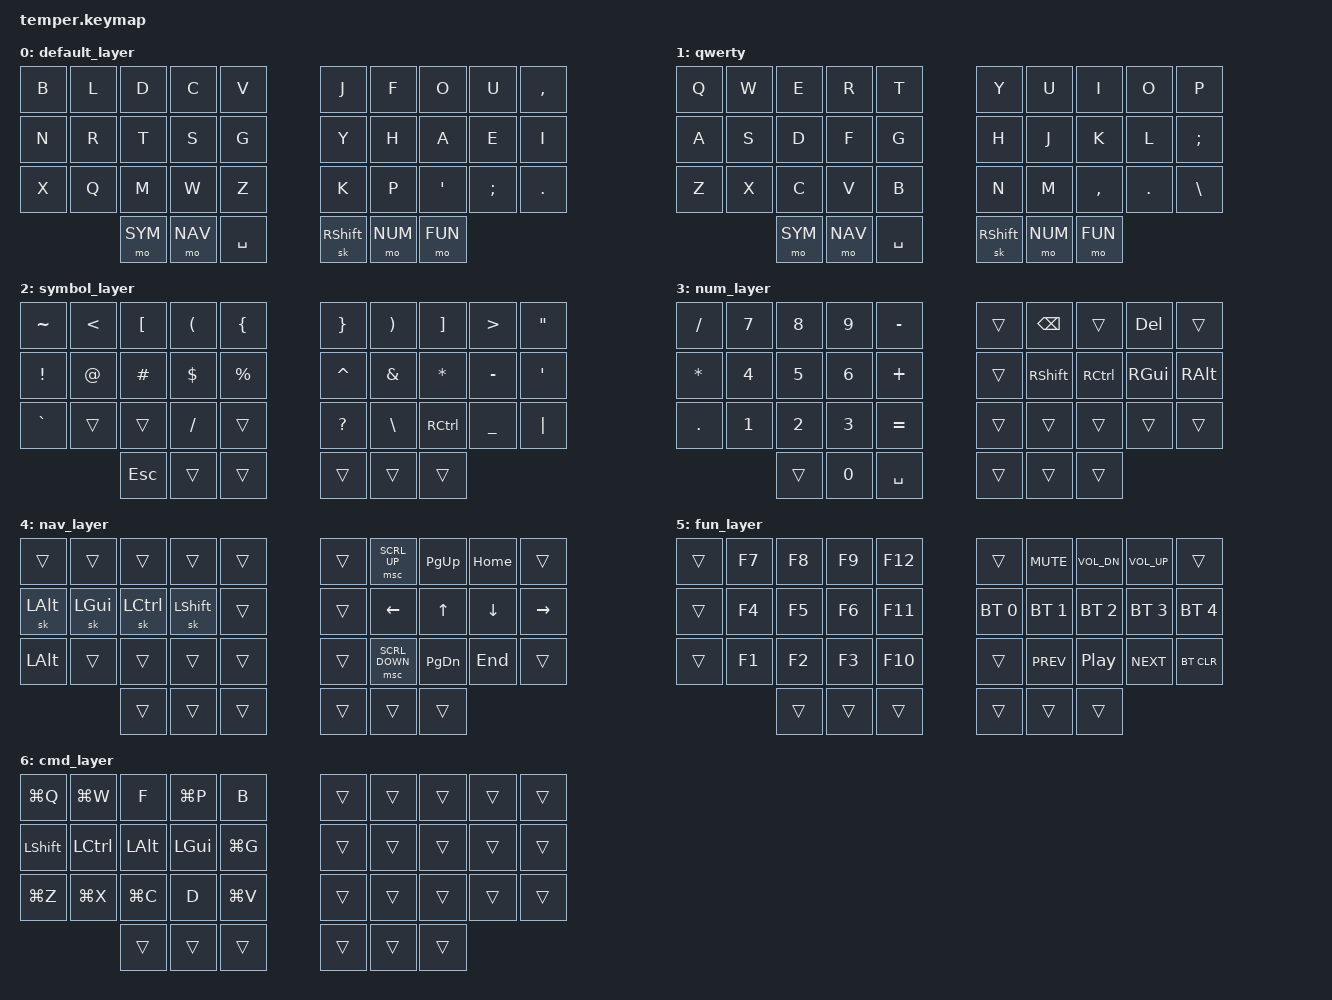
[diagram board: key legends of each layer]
/*
 * Copyright (c) 2020 The ZMK Contributors
 *
 * SPDX-License-Identifier: MIT
 */

#include <behaviors.dtsi>
#include <dt-bindings/zmk/keys.h>
#include <dt-bindings/zmk/bt.h>
#include <dt-bindings/zmk/outputs.h>
#include <dt-bindings/zmk/pointing.h>

#define GALLIUM 0
#define QWERTY 1
#define SYM 2
#define NUM 3
#define NAV 4
#define FUN 5
#define CMD 6

# define ______ &trans

/ {
    
    combos {
        compatible = "zmk,combos";
        combo_esc {
            timeout-ms = <50>;
            key-positions = <1 2>;
            bindings = <&kp ESC>;
        };
        combo_backspace {
            timeout-ms = <50>;
            key-positions = <6 7>;
            bindings = <&kp BSPC>;
        };
        combo_delete {
            timeout-ms = <50>;
            key-positions = <7 8>;
            bindings = <&kp DEL>;
        };
        combo_tab {
            timeout-ms = <50>;
            key-positions = <21 22>;
            bindings = <&kp TAB>;
        };
        combo_enter {
            timeout-ms = <50>;
            key-positions = <27 28>;
            bindings = <&kp RET>;
        };
        combo_caps {
            timeout-ms = <50>;
            key-positions = <11 12>;
            bindings = <&caps_word>;
        };
        combo_num {
            timeout-ms = <50>;
            key-positions = <1 2 3>;
            bindings = <&tog NUM>;
        };
        combo_qwer {
            timeout-ms = <50>;
            key-positions = <6 7 8>;
            bindings = <&tog QWERTY>;
        };
        combo_wm_a {
            timeout-ms = <50>;
            key-positions = <3 4>;
            bindings = <&kp LS(LC(LA(LGUI)))>;
        };

         combo_wm_b {
             timeout-ms = <50>;
             key-positions = <5 6>;
             bindings = <&kp LS(LC(LA(LGUI)))>;
        };

         combo_wm_c {
             timeout-ms = <50>;
             key-positions = <23 24>;
             bindings = <&kp LS(LA(LGUI))>;
         };
         combo_wm_d {
             timeout-ms = <50>;
             key-positions = <25 26>;
             bindings = <&kp LS(LA(LGUI))>;
         };


    };

// &sk LALT     &sk LGUI      &sk LCTRL      &sk LSHFT 
//     conditional_layers {
//         compatible = "zmk,conditional-layers";
//         tri_layer {
//             if-layers = <NUM NAV>;
//             then-layer = <FUN>;
//         };
//     };
    
    behaviors {
        bspc_del: backspace_delete {
            compatible = "zmk,behavior-mod-morph";
            #binding-cells = <0>;
            bindings = <&kp BACKSPACE>, <&kp DELETE>;
            mods = <(MOD_LSFT|MOD_RSFT)>;
            keep-mods = <(MOD_RSFT)>;
        };
        super_bspc: super_backspace {
            compatible = "zmk,behavior-mod-morph";
            #binding-cells = <0>;
            bindings = <&kp BACKSPACE>, <&kp LA(BACKSPACE)>;
            mods = <(MOD_LSFT|MOD_RSFT)>;
        };
        comma_semi: comma_semi {
            compatible = "zmk,behavior-mod-morph";
            #binding-cells = <0>;
            bindings = <&kp COMMA>, <&kp SEMI>;
            mods = <(MOD_LSFT)>;
        };
        dot_colon: dot_colon {
            compatible = "zmk,behavior-mod-morph";
            #binding-cells = <0>;
            bindings = <&kp DOT>, <&kp COLON>;
            mods = <(MOD_LSFT)>;
        };
        qmrk_excl: qmrk_excl {
            compatible = "zmk,behavior-mod-morph";
            #binding-cells = <0>;
            bindings = <&kp QMARK>, <&kp EXCL>;
            mods = <(MOD_LSFT)>;
        };
        slh_morph: slh_morph {
            compatible = "zmk,behavior-mod-morph";
            #binding-cells = <0>;
            bindings = <&kp FSLH>, <&kp BSLH>;
            mods = <(MOD_LSFT)>;
        };
        
    };
        keymap {
                compatible = "zmk,keymap";

                default_layer {
                        bindings = <
// ╭─────────────┬─────────────┬─────────────┬─────────────┬─────────────╮   ╭─────────────┬─────────────┬─────────────┬─────────────┬─────────────╮
        &kp B         &kp L         &kp D         &kp C         &kp V             &kp J         &kp F         &kp O         &kp U        &kp COMMA  // #TODO comma morph to add ?
// ├─────────────┼─────────────┼─────────────┼─────────────┼─────────────┤   ├─────────────┼─────────────┼─────────────┼─────────────┼─────────────┤
        &kp N         &kp R         &kp T         &kp S         &kp G             &kp Y         &kp H         &kp A         &kp E        &kp I
// ├─────────────┼─────────────┼─────────────┼─────────────┼─────────────┤   ├─────────────┼─────────────┼─────────────┼─────────────┼─────────────┤
        &kp X         &kp Q         &kp M         &kp W         &kp Z             &kp K         &kp P         &kp APOS    &kp SEMI       &kp DOT
// ╰─────────────┴─────────────┼─────────────┼─────────────┼─────────────┤   ├─────────────┼─────────────┼─────────────┼─────────────┴─────────────╯
                                   &mo SYM       &mo NAV     &kp SPACE         &sk RSHIFT       &mo NUM       &mo FUN
//                             ╰─────────────┴─────────────┴─────────────╯   ╰─────────────┴─────────────┴─────────────╯
                        >;
                };

                qwerty {
                        bindings = <
// ╭─────────────┬─────────────┬─────────────┬─────────────┬─────────────╮   ╭─────────────┬─────────────┬─────────────┬─────────────┬─────────────╮
        &kp Q         &kp W         &kp E         &kp R         &kp T             &kp Y         &kp U         &kp I         &kp O        &kp P   // #TODO comma morph to add ?
// ├─────────────┼─────────────┼─────────────┼─────────────┼─────────────┤   ├─────────────┼─────────────┼─────────────┼─────────────┼─────────────┤
        &kp A         &kp S         &kp D         &kp F         &kp G             &kp H         &kp J         &kp K         &kp L        &kp SEMI
// ├─────────────┼─────────────┼─────────────┼─────────────┼─────────────┤   ├─────────────┼─────────────┼─────────────┼─────────────┼─────────────┤
        &kp Z         &kp X         &kp C         &kp V         &kp B             &kp N         &kp M         &kp COMMA      &kp DOT     &kp BSLH
// ╰─────────────┴─────────────┼─────────────┼─────────────┼─────────────┤   ├─────────────┼─────────────┼─────────────┼─────────────┴─────────────╯
                                   &mo SYM       &mo NAV     &kp SPACE        &sk RSHIFT         &mo NUM       &mo FUN
//                             ╰─────────────┴─────────────┴─────────────╯   ╰─────────────┴─────────────┴─────────────╯
                        >;
                };

                symbol_layer {
                        bindings = <
// ╭─────────────┬─────────────┬─────────────┬─────────────┬─────────────╮   ╭─────────────┬─────────────┬─────────────┬─────────────┬─────────────╮
       &kp TILDE     &kp LT        &kp LBKT      &kp LPAR     &kp LBRC          &kp RBRC       &kp RPAR     &kp RBKT   &kp GREATER_THAN    &kp DOUBLE_QUOTES
// ├─────────────┼─────────────┼─────────────┼─────────────┼─────────────┤   ├─────────────┼─────────────┼─────────────┼─────────────┼─────────────┤
       &kp EXCL      &kp AT       &kp HASH       &kp DLLR     &kp PRCNT         &kp CARET      &kp AMPS      &kp STAR      &kp MINUS    &kp APOS
// ├─────────────┼─────────────┼─────────────┼─────────────┼─────────────┤   ├─────────────┼─────────────┼─────────────┼─────────────┼─────────────┤
       &kp GRAVE      ______         ______      &kp FSLH      ______          &kp QUESTION    &kp BSLH     &kp RCTRL      &kp UNDER    &kp PIPE
// ╰─────────────┴─────────────┼─────────────┼─────────────┼─────────────┤   ├─────────────┼─────────────┼─────────────┼─────────────┴─────────────╯
                                    &kp ESC       ______      ______              ______       ______     ______
//                             ╰─────────────┴─────────────┴─────────────╯   ╰─────────────┴─────────────┴─────────────╯
                        >;
                };

                num_layer {
                        bindings = <
// ╭─────────────┬─────────────┬─────────────┬─────────────┬─────────────╮   ╭─────────────┬─────────────┬─────────────┬─────────────┬─────────────╮
      &kp FSLH       &kp N7       &kp N8        &kp N9       &kp MINUS           ______       &kp BSPC        ______        &kp DEL      ______
// ├─────────────┼─────────────┼─────────────┼─────────────┼─────────────┤   ├─────────────┼─────────────┼─────────────┼─────────────┼─────────────┤
      &kp STAR       &kp N4       &kp N5        &kp N6       &kp PLUS            ______       &kp RSHFT     &kp RCTRL       &kp RGUI      &kp RALT
// ├─────────────┼─────────────┼─────────────┼─────────────┼─────────────┤   ├─────────────┼─────────────┼─────────────┼─────────────┼─────────────┤
      &kp DOT        &kp N1       &kp N2        &kp N3       &kp EQUAL          ______      ______        ______        ______      ______
// ╰─────────────┴─────────────┼─────────────┼─────────────┼─────────────┤   ├─────────────┼─────────────┼─────────────┼─────────────┴─────────────╯
                                    ______        &kp N0      &kp SPACE            ______        ______        ______
//                             ╰─────────────┴─────────────┴─────────────╯   ╰─────────────┴─────────────┴─────────────╯
                        >;
                };

                nav_layer {
                        bindings = <
// ╭─────────────┬─────────────┬─────────────┬─────────────┬─────────────╮   ╭─────────────┬─────────────┬─────────────┬─────────────┬─────────────╮
        ______        ______        ______        ______        ______           ______     &msc SCRL_UP   &kp PAGE_UP     &kp HOME       ______
// ├─────────────┼─────────────┼─────────────┼─────────────┼─────────────┤   ├─────────────┼─────────────┼─────────────┼─────────────┼─────────────┤
      &sk LALT     &sk LGUI      &sk LCTRL      &sk LSHFT       ______           ______      &kp LEFT       &kp UP        &kp DOWN       &kp RIGHT
// ├─────────────┼─────────────┼─────────────┼─────────────┼─────────────┤   ├─────────────┼─────────────┼─────────────┼─────────────┼─────────────┤
        &kp LALT        ______        ______        ______        ______            ______   &msc SCRL_DOWN &kp PAGE_DOWN   &kp END        ______
// ╰─────────────┴─────────────┼─────────────┼─────────────┼─────────────┤   ├─────────────┼─────────────┼─────────────┼─────────────┴─────────────╯
                                    ______        ______        ______            ______        ______        ______
//                             ╰─────────────┴─────────────┴─────────────╯   ╰─────────────┴─────────────┴─────────────╯
                        >;
                };

                fun_layer {
                        bindings = <
// ╭─────────────┬─────────────┬─────────────┬─────────────┬─────────────╮   ╭─────────────┬─────────────┬─────────────┬─────────────┬─────────────╮
      ______        &kp F7        &kp F8         &kp F9      &kp F12             ______     &kp K_MUTE   &kp C_VOL_DN    &kp C_VOL_UP    ______
// ├─────────────┼─────────────┼─────────────┼─────────────┼─────────────┤   ├─────────────┼─────────────┼─────────────┼─────────────┼─────────────┤
     ______         &kp F4        &kp F5         &kp F6      &kp F11          &bt BT_SEL 0  &bt BT_SEL 1  &bt BT_SEL 2  &bt BT_SEL 3  &bt BT_SEL 4
// ├─────────────┼─────────────┼─────────────┼─────────────┼─────────────┤   ├─────────────┼─────────────┼─────────────┼─────────────┼─────────────┤
      ______        &kp F1        &kp F2         &kp F3      &kp F10             ______       &kp C_PREV    &kp C_PP     &kp C_NEXT    &bt BT_CLR
// ╰─────────────┴─────────────┼─────────────┼─────────────┼─────────────┤   ├─────────────┼─────────────┼─────────────┼─────────────┴─────────────╯
                                    ______        ______        ______            ______        ______        ______
//                             ╰─────────────┴─────────────┴─────────────╯   ╰─────────────┴─────────────┴─────────────╯
                        >;
                };

//                 fun_layer {
//                         bindings = <
// // ╭─────────────┬─────────────┬─────────────┬─────────────┬─────────────╮   ╭─────────────┬─────────────┬─────────────┬─────────────┬─────────────╮
//       &tog SYM    &kp K_MUTE    &kp C_VOL_DN  &kp C_VOL_UP  &out OUT_USB         ______        &kp F7        &kp F8        &kp F9       &kp F12
// // ├─────────────┼─────────────┼─────────────┼─────────────┼─────────────┤   ├─────────────┼─────────────┼─────────────┼─────────────┼─────────────┤
//      &bt BT_SEL 0  &bt BT_SEL 1  &bt BT_SEL 2  &bt BT_SEL 3  &bt BT_SEL 4         ______        &kp F4        &kp F5        &kp F6       &kp F11
// // ├─────────────┼─────────────┼─────────────┼─────────────┼─────────────┤   ├─────────────┼─────────────┼─────────────┼─────────────┼─────────────┤
//       &bt BT_CLR    &kp C_PREV     &kp C_PP     &kp C_NEXT   &out OUT_BLE         ______        &kp F1        &kp F2        &kp F3       &kp F10
// // ╰─────────────┴─────────────┼─────────────┼─────────────┼─────────────┤   ├─────────────┼─────────────┼─────────────┼─────────────┴─────────────╯
//                                     ______        ______        ______            ______        ______        ______
// //                             ╰─────────────┴─────────────┴─────────────╯   ╰─────────────┴─────────────┴─────────────╯
//                         >;
//                 };



                
                cmd_layer {
                        bindings = <
// ╭─────────────┬─────────────┬─────────────┬─────────────┬─────────────╮   ╭─────────────┬─────────────┬─────────────┬─────────────┬─────────────╮
       &kp LG(Q)    &kp LG(W)       &kp F       &kp LG(P)       &kp B             ______        ______        ______        ______        ______  
// ├─────────────┼─────────────┼─────────────┼─────────────┼─────────────┤   ├─────────────┼─────────────┼─────────────┼─────────────┼─────────────┤
       &kp LSHFT    &kp LCTRL     &kp LALT      &kp LGUI      &kp LG(G)           ______        ______        ______        ______        ______
// ├─────────────┼─────────────┼─────────────┼─────────────┼─────────────┤   ├─────────────┼─────────────┼─────────────┼─────────────┼─────────────┤
       &kp LG(Z)    &kp LG(X)     &kp LG(C)       &kp D       &kp LG(V)           ______        ______        ______        ______        ______
// ╰─────────────┴─────────────┼─────────────┼─────────────┼─────────────┤   ├─────────────┼─────────────┼─────────────┼─────────────┴─────────────╯
                                    ______        ______        ______            ______        ______        ______
//                             ╰─────────────┴─────────────┴─────────────╯   ╰─────────────┴─────────────┴─────────────╯
                        >;
                };
        };
};
